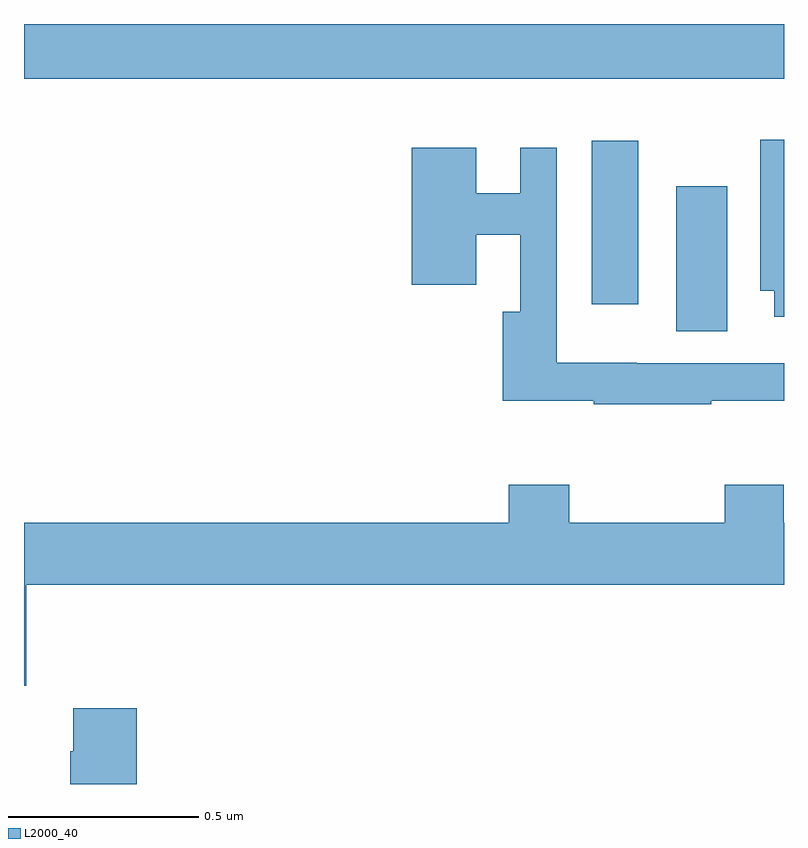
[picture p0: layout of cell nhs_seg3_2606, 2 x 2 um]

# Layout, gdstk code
import gdstk
lib = gdstk.Library(unit=1e-6, precision=1e-09)
def R(c, l, rs):  # rectangles x0, y0, x1, y1
    for r in rs: c.add(gdstk.rectangle(r[:2], r[2:], *l))
def P(c, l, *ps):  # polygons
    for p in ps: c.add(gdstk.Polygon(p, *l))
L2000_40 = (2000, 40)

nhs_seg3_2606 = lib.new_cell('nhs_seg3_2606')
R(nhs_seg3_2606, L2000_40, [(144.716,693.592,144.85,693.973), (144.494,693.663,144.616,694.093), (143,694.256,145,694.4)])
P(nhs_seg3_2606, L2000_40, [(145,694.096),(144.938,694.096),(144.938,693.698),(144.974,693.698),(144.974,693.63),(145,693.63)],
  [(144.809,693.409),(145,693.409),(145,693.507),(144.612,693.507),(144.612,693.508),(144.402,693.508),(144.402,694.075),(144.306,694.075),(144.306,693.955),(144.19,693.955),(144.19,694.075),(144.02,694.075),(144.02,693.714),(144.19,693.714),(144.19,693.845),(144.306,693.845),(144.306,693.643),(144.26,693.643),(144.26,693.409),(144.499,693.409),(144.499,693.399),(144.809,693.399)],
  [(143.006,692.924),(145,692.924),(145,693.088),(144.999,693.088),(144.999,693.187),(144.844,693.187),(144.844,693.088),(144.435,693.088),(144.435,693.187),(144.275,693.187),(144.275,693.088),(143,693.088),(143,692.659),(143.006,692.659)],
  [(143.297,692.599),(143.129,692.599),(143.129,692.486),(143.122,692.486),(143.122,692.4),(143.297,692.4)])

lib.write_gds('nhs_seg3_2606.gds')
